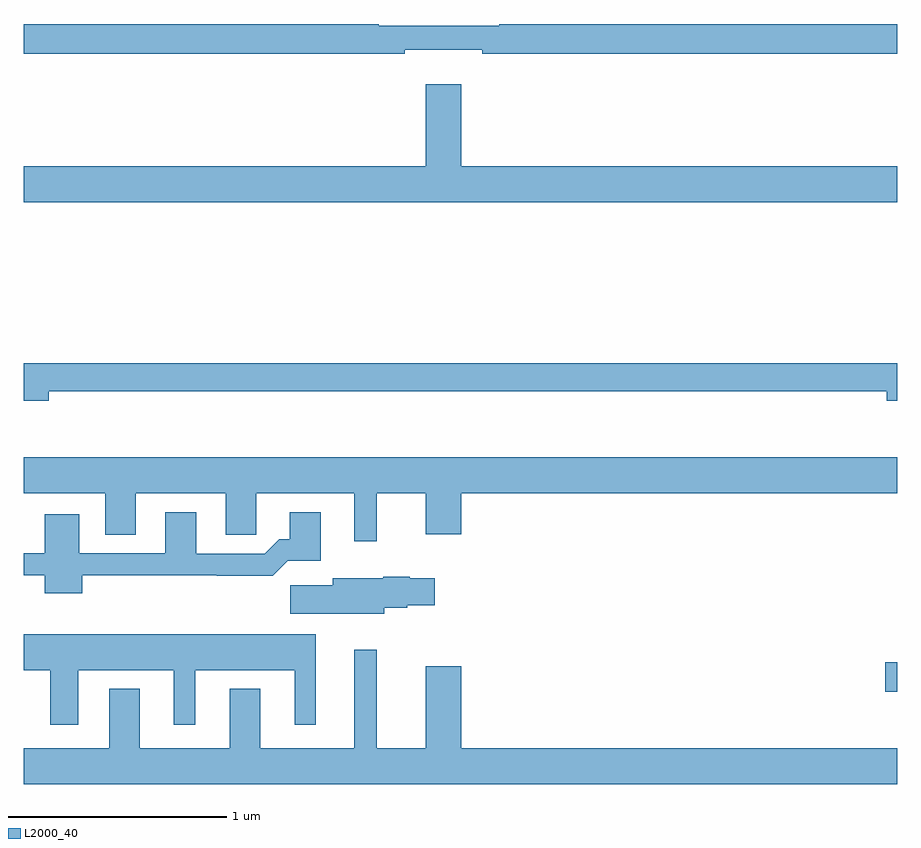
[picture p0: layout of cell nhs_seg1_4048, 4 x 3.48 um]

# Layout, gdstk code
import gdstk
lib = gdstk.Library(unit=1e-6, precision=1e-09)
def R(c, l, rs):  # rectangles x0, y0, x1, y1
    for r in rs: c.add(gdstk.rectangle(r[:2], r[2:], *l))
def P(c, l, *ps):  # polygons
    for p in ps: c.add(gdstk.Polygon(p, *l))
L2000_40 = (2000, 40)

nhs_seg1_4048 = lib.new_cell('nhs_seg1_4048')
R(nhs_seg1_4048, L2000_40, [(334.944,554.819,335,554.954)])
P(nhs_seg1_4048, L2000_40, [(332.744,557.759),(333.1,557.759),(333.1,557.74),(335,557.74),(335,557.876),(333.178,557.876),(333.178,557.869),(332.626,557.869),(332.626,557.876),(331,557.876),(331,557.74),(332.744,557.74)],
  [(335,557.224),(333.004,557.224),(333.004,557.599),(332.84,557.599),(332.84,557.224),(331,557.224),(331,557.06),(335,557.06)],
  [(331.114,556.194),(334.952,556.194),(334.952,556.151),(335,556.151),(335,556.322),(331,556.322),(331,556.151),(331.114,556.151)],
  [(332.617,555.728),(332.84,555.728),(332.84,555.54),(333.004,555.54),(333.004,555.728),(335,555.728),(335,555.892),(331,555.892),(331,555.728),(331.373,555.728),(331.373,555.538),(331.513,555.538),(331.513,555.728),(331.925,555.728),(331.925,555.538),(332.064,555.538),(332.064,555.728),(332.513,555.728),(332.513,555.507),(332.617,555.507)],
  [(331.268,555.352),(331.885,555.352),(331.885,555.35),(332.141,555.35),(332.21,555.419),(332.359,555.419),(332.359,555.64),(332.219,555.64),(332.219,555.517),(332.17,555.517),(332.103,555.45),(331.789,555.45),(331.789,555.64),(331.649,555.64),(331.649,555.453),(331.255,555.453),(331.255,555.631),(331.097,555.631),(331.097,555.453),(331,555.453),(331,555.352),(331.097,555.352),(331.097,555.269),(331.268,555.269)],
  [(332.65,555.203),(332.757,555.203),(332.757,555.215),(332.881,555.215),(332.881,555.337),(332.768,555.337),(332.768,555.345),(332.646,555.345),(332.646,555.337),(332.414,555.337),(332.414,555.305),(332.22,555.305),(332.22,555.176),(332.65,555.176)],
  [(331.249,554.918),(331.688,554.918),(331.688,554.667),(331.786,554.667),(331.786,554.918),(332.24,554.918),(332.24,554.667),(332.338,554.667),(332.338,555.082),(331,555.082),(331,554.918),(331.121,554.918),(331.121,554.667),(331.249,554.667)],
  [(335,554.56),(333.004,554.56),(333.004,554.935),(332.84,554.935),(332.84,554.56),(332.617,554.56),(332.617,555.01),(332.513,555.01),(332.513,554.56),(332.083,554.56),(332.083,554.833),(331.943,554.833),(331.943,554.56),(331.531,554.56),(331.531,554.833),(331.391,554.833),(331.391,554.56),(331,554.56),(331,554.396),(335,554.396)])

lib.write_gds('nhs_seg1_4048.gds')
